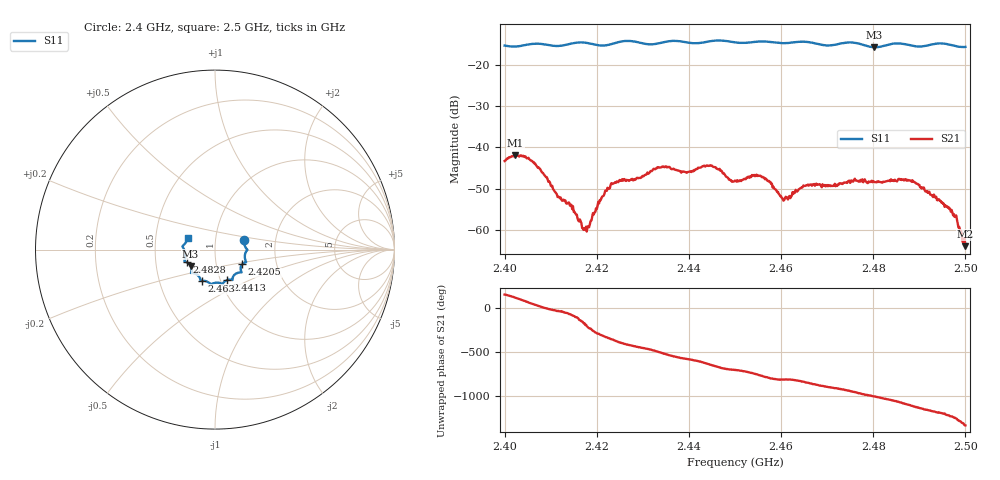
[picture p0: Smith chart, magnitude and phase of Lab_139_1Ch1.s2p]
# Hz S RI R 50
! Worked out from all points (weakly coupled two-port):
!   601 points, 2.4 GHz to 2.5 GHz, reference 50 ohm
!   highest |S21| = -41.84 dB at 2.4023 GHz (marker M1); lowest = -63.9 dB at 2.5 GHz (marker M2)
!   lowest |S11| = -15.7 dB at 2.4802 GHz (marker M3), VSWR 1.39, Z = 37.5 - j6.97 ohm
!   |S11| at or under -10 dB: start of sweep to end of sweep
!   S12 and S22 are empty: the file has one direction only
!   S11 on the Smith chart (normalised r, x): 2.4 GHz: 1.38, +0.15; 2.4205 GHz: 1.34, -0.22; 2.4413 GHz: 1.08, -0.38; 2.463 GHz: 0.82, -0.29; 2.4828 GHz: 0.72, -0.10; 2.5 GHz: 0.73, +0.10
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2.4e9  0.1628 0.0527  -0.00622 0.00283  0 0  0 0
2.402333e9  0.1644 0.0256  -0.00392 0.00708  0 0  0 0
2.4065e9  0.1802 -0.000171  0.00481 0.00414  0 0  0 0
2.416667e9  0.1735 -0.0697  -0.00106 -0.00058  0 0  0 0
2.418e9  0.1693 -0.0714  -0.000906 0.000627  0 0  0 0
2.4205e9  0.152 -0.0809  0.000854 0.00191  0 0  0 0
2.4235e9  0.1431 -0.1098  0.00362 5.09e-05  0 0  0 0
2.433333e9  0.1004 -0.1514  -0.0043 -0.00383  0 0  0 0
2.441333e9  0.0676 -0.1697  -0.00276 0.00452  0 0  0 0
2.445167e9  0.0431 -0.1904  0.00242 0.00532  0 0  0 0
2.45e9  0.0247 -0.1856  0.00385 0.000954  0 0  0 0
2.455167e9  -0.0172 -0.1908  0.00318 -0.0032  0 0  0 0
2.460333e9  -0.0494 -0.1762  -0.000289 -0.00239  0 0  0 0
2.463e9  -0.0722 -0.1736  -0.000627 -0.00275  0 0  0 0
2.466667e9  -0.0815 -0.1672  -0.00271 -0.00209  0 0  0 0
2.480167e9  -0.136 -0.0905  0.00127 0.00358  0 0  0 0
2.482833e9  -0.1584 -0.0702  0.00298 0.00248  0 0  0 0
2.483333e9  -0.1624 -0.0684  0.00316 0.00232  0 0  0 0
2.4885e9  -0.165 -0.0417  0.00318 -0.00242  0 0  0 0
2.494667e9  -0.181 0.0175  -0.00106 -0.00197  0 0  0 0
2.4975e9  -0.1675 0.033  -0.00154 -0.000231  0 0  0 0
2.5e9  -0.152 0.064  -9.82e-05 0.000627  0 0  0 0
